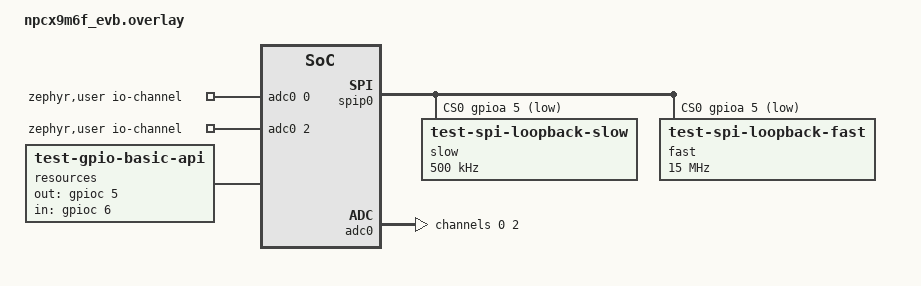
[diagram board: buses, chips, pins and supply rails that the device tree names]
/* SPDX-License-Identifier: Apache-2.0 */

&spip0 {
	status = "okay";
	pinctrl-0 = <&spip_sclk_mosi_miso_gp95_gpa1_gpa3_gpa5_sl
		     &spip_sclk_mosi_miso_gp95_gpa1_gpa3_gpa5_no_spip_inv>;
	pinctrl-names = "default";

	cs-gpios = <&gpioa 5 GPIO_ACTIVE_LOW>;

	slow@0 {
		compatible = "test-spi-loopback-slow";
		reg = <0>;
		spi-max-frequency = <500000>;
	};

	fast@0 {
		compatible = "test-spi-loopback-fast";
		reg = <0>;
		spi-max-frequency = <15000000>;
	};
};

/ {
	zephyr,user {
		io-channels = <&adc0 0>, <&adc0 2>;
	};
};

&adc0 {
	#address-cells = <1>;
	#size-cells = <0>;
	channel@0 {
		reg = <0>;
		zephyr,gain = "ADC_GAIN_1";
		zephyr,reference = "ADC_REF_INTERNAL";
		zephyr,acquisition-time = <ADC_ACQ_TIME_DEFAULT>;
		zephyr,resolution = <10>;
	};
	channel@2 {
		reg = <2>;
		zephyr,gain = "ADC_GAIN_1";
		zephyr,reference = "ADC_REF_INTERNAL";
		zephyr,acquisition-time = <ADC_ACQ_TIME_DEFAULT>;
		zephyr,resolution = <10>;
	};
};

/ {
	resources {
		compatible = "test-gpio-basic-api";
		out-gpios = <&gpioc 5 0>;
		in-gpios = <&gpioc 6 0>;
	};
};
